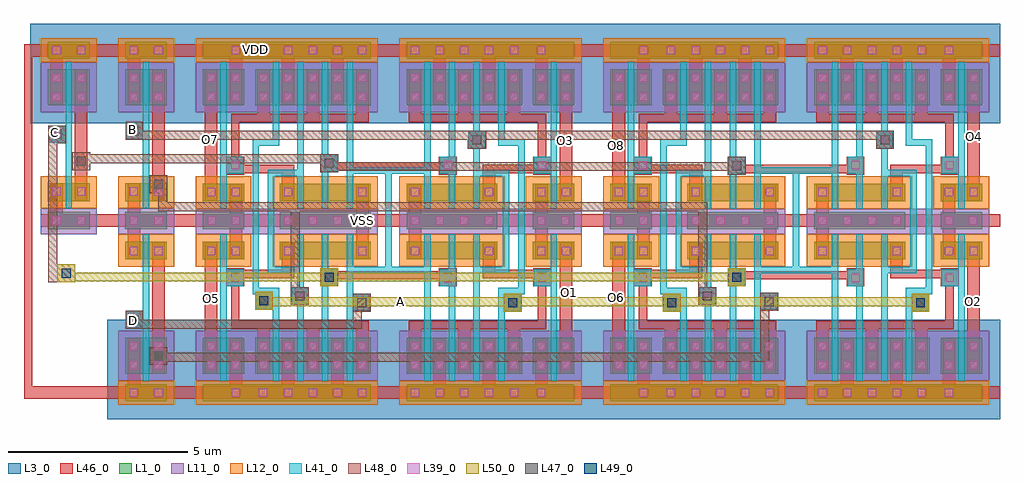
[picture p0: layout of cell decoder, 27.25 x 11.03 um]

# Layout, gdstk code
import gdstk
lib = gdstk.Library(unit=1e-6, precision=1e-09)
def R(c, l, rs):  # rectangles x0, y0, x1, y1
    for r in rs: c.add(gdstk.rectangle(r[:2], r[2:], *l))
def A(c, l, x, y, w, h, nx, ny, dx, dy):  # array of equal rectangles
    R(c, l, [(x+i*dx, y+j*dy, x+i*dx+w, y+j*dy+h) for i in range(nx) for j in range(ny)])
L1_0 = (1, 0)
L3_0 = (3, 0)
L11_0 = (11, 0)
L12_0 = (12, 0)
L39_0 = (39, 0)
L41_0 = (41, 0)
L46_0 = (46, 0)
L47_0 = (47, 0)
L48_0 = (48, 0)
L49_0 = (49, 0)
L50_0 = (50, 0)

decoder = lib.new_cell('decoder')
A(decoder, L1_0, 7.62, -9.57, 4.69, 0.47, 4, 2, 5.69, 9.56)
A(decoder, L1_0, 3.3, -1.31, 1.16, 1, 3, 1, 2.16, 0)
R(decoder, L1_0, [(5.46,-9.57,6.62,-9.1), (5.46,-8.8,6.62,-7.8), (7.62,-8.8,8.78,-7.8), (9.08,-8.8,12.31,-7.8), (13.31,-8.8,16.54,-7.8), (16.84,-8.8,18,-7.8), (19,-8.8,20.16,-7.8), (20.46,-8.8,23.69,-7.8), (24.69,-8.8,27.92,-7.8), (28.22,-8.8,29.38,-7.8), (5.46,-5.615,6.62,-5.115), (7.62,-5.615,8.78,-5.115), (9.77,-5.615,12.31,-5.115), (13.31,-5.615,15.85,-5.115), (16.84,-5.615,18,-5.115), (19,-5.615,20.16,-5.115), (21.15,-5.615,23.69,-5.115), (24.69,-5.615,27.23,-5.115), (28.22,-5.615,29.38,-5.115), (3.3,-4.765,4.46,-4.285), (5.46,-4.765,6.62,-4.285), (7.62,-4.765,8.78,-4.295), (9.77,-4.765,12.31,-4.295), (13.31,-4.765,15.85,-4.295), (16.84,-4.765,18,-4.295), (19,-4.765,20.16,-4.295), (21.15,-4.765,23.69,-4.295), (24.69,-4.765,27.23,-4.295), (28.22,-4.765,29.38,-4.295), (7.62,-3.995,8.78,-3.495), (9.77,-3.995,12.31,-3.495), (13.31,-3.995,15.85,-3.495), (16.84,-3.995,18,-3.495), (19,-3.995,20.16,-3.495), (21.15,-3.995,23.69,-3.495), (24.69,-3.995,27.23,-3.495), (28.22,-3.995,29.38,-3.495), (3.3,-3.985,4.46,-3.485), (5.46,-3.985,6.62,-3.485), (9.08,-1.31,12.31,-0.31), (13.31,-1.31,16.54,-0.31), (16.84,-1.31,18,-0.31), (19,-1.31,20.16,-0.31), (20.46,-1.31,23.69,-0.31), (24.69,-1.31,27.92,-0.31), (28.22,-1.31,29.38,-0.31), (3.3,-0.01,4.46,0.46), (5.46,-0.01,6.62,0.46)])
A(decoder, L3_0, 7.12, -10.07, 5.69, 2.77, 4, 2, 5.69, 8.26)
R(decoder, L3_0, [(4.96,-10.07,7.12,-7.3), (2.8,-1.81,4.96,0.96), (4.96,-1.81,7.12,0.96)])
A(decoder, L11_0, 7.42, -9, 5.09, 1.4, 4, 2, 5.69, 7.49)
A(decoder, L11_0, 7.42, -4.915, 5.09, 0.72, 4, 1, 5.69, 0)
R(decoder, L11_0, [(5.26,-9,6.82,-7.6), (3.1,-4.915,4.66,-4.185), (5.26,-4.915,6.82,-4.185), (3.1,-1.51,4.66,-0.11), (5.26,-1.51,6.82,-0.11)])
A(decoder, L12_0, 7.42, -9.67, 5.09, 0.67, 4, 2, 5.69, 9.56)
R(decoder, L12_0, [(5.26,-9.67,6.82,-9), (5.26,-5.815,6.82,-4.915), (7.42,-5.815,8.98,-4.915), (9.57,-5.815,12.51,-4.915), (13.11,-5.815,16.05,-4.915), (16.64,-5.815,18.2,-4.915), (18.8,-5.815,20.36,-4.915), (20.95,-5.815,23.89,-4.915), (24.49,-5.815,27.43,-4.915), (28.02,-5.815,29.58,-4.915), (7.42,-4.195,8.98,-3.295), (9.57,-4.195,12.51,-3.295), (13.11,-4.195,16.05,-3.295), (16.64,-4.195,18.2,-3.295), (18.8,-4.195,20.36,-3.295), (20.95,-4.195,23.89,-3.295), (24.49,-4.195,27.43,-3.295), (28.02,-4.195,29.58,-3.295), (3.1,-4.185,4.66,-3.285), (5.26,-4.185,6.82,-3.285), (3.1,-0.11,4.66,0.56), (5.26,-0.11,6.82,0.56)])
A(decoder, L39_0, 9.89, -9.45, 0.23, 0.23, 4, 2, 0.69, 4.805)
A(decoder, L39_0, 13.43, -9.45, 0.23, 0.23, 4, 2, 0.69, 4.805)
A(decoder, L39_0, 21.27, -9.45, 0.23, 0.23, 4, 2, 0.69, 4.805)
A(decoder, L39_0, 24.81, -9.45, 0.23, 0.23, 4, 2, 0.69, 4.805)
A(decoder, L39_0, 9.2, -8.68, 0.23, 0.23, 5, 2, 0.69, 0.53)
A(decoder, L39_0, 13.43, -8.68, 0.23, 0.23, 5, 2, 0.69, 0.53)
A(decoder, L39_0, 20.58, -8.68, 0.23, 0.23, 5, 2, 0.69, 0.53)
A(decoder, L39_0, 24.81, -8.68, 0.23, 0.23, 5, 2, 0.69, 0.53)
A(decoder, L39_0, 9.2, -1.19, 0.23, 0.23, 5, 2, 0.69, 0.53)
A(decoder, L39_0, 13.43, -1.19, 0.23, 0.23, 5, 2, 0.69, 0.53)
A(decoder, L39_0, 20.58, -1.19, 0.23, 0.23, 5, 2, 0.69, 0.53)
A(decoder, L39_0, 24.81, -1.19, 0.23, 0.23, 5, 2, 0.69, 0.53)
A(decoder, L39_0, 9.89, 0.11, 0.23, 0.23, 4, 1, 0.69, 0)
A(decoder, L39_0, 13.43, 0.11, 0.23, 0.23, 4, 1, 0.69, 0)
A(decoder, L39_0, 21.27, 0.11, 0.23, 0.23, 4, 1, 0.69, 0)
A(decoder, L39_0, 24.81, 0.11, 0.23, 0.23, 4, 1, 0.69, 0)
R(decoder, L39_0, [(5.58,-9.45,5.81,-9.22), (6.27,-9.45,6.5,-9.22), (8.43,-9.45,8.66,-9.22), (9.19,-9.45,9.42,-9.22), (16.2,-9.45,16.43,-9.22), (16.96,-9.45,17.19,-9.22), (19.81,-9.45,20.04,-9.22), (20.57,-9.45,20.8,-9.22), (27.58,-9.45,27.81,-9.22), (28.34,-9.45,28.57,-9.22), (5.58,-8.68,5.81,-8.45), (6.27,-8.68,6.5,-8.45), (7.74,-8.68,7.97,-8.45), (8.43,-8.68,8.66,-8.45), (16.96,-8.68,17.19,-8.45), (17.65,-8.68,17.88,-8.45), (19.12,-8.68,19.35,-8.45), (19.81,-8.68,20.04,-8.45), (28.34,-8.68,28.57,-8.45), (29.03,-8.68,29.26,-8.45), (5.58,-8.15,5.81,-7.92), (6.27,-8.15,6.5,-7.92), (7.74,-8.15,7.97,-7.92), (8.43,-8.15,8.66,-7.92), (16.96,-8.15,17.19,-7.92), (17.65,-8.15,17.88,-7.92), (19.12,-8.15,19.35,-7.92), (19.81,-8.15,20.04,-7.92), (28.34,-8.15,28.57,-7.92), (29.03,-8.15,29.26,-7.92), (5.6,-7.415,5.83,-7.185), (16.17,-6.935,16.4,-6.705), (20.6,-6.935,20.83,-6.705), (27.55,-6.935,27.78,-6.705), (11.94,-6.92,12.17,-6.69), (23.32,-6.89,23.55,-6.66), (9.22,-6.885,9.45,-6.655), (10.23,-6.75,10.46,-6.52), (21.61,-6.75,21.84,-6.52), (11.04,-6.245,11.27,-6.015), (14.35,-6.245,14.58,-6.015), (22.42,-6.245,22.65,-6.015), (25.73,-6.245,25.96,-6.015), (8.41,-6.24,8.64,-6.01), (16.98,-6.24,17.21,-6.01), (19.79,-6.24,20.02,-6.01), (28.36,-6.24,28.59,-6.01), (5.58,-5.495,5.81,-5.265), (6.27,-5.495,6.5,-5.265), (7.74,-5.495,7.97,-5.265), (8.43,-5.495,8.66,-5.265), (9.89,-5.495,10.12,-5.265), (11.96,-5.495,12.19,-5.265), (13.43,-5.495,13.66,-5.265), (15.5,-5.495,15.73,-5.265), (16.96,-5.495,17.19,-5.265), (17.65,-5.495,17.88,-5.265), (19.12,-5.495,19.35,-5.265), (19.81,-5.495,20.04,-5.265), (21.27,-5.495,21.5,-5.265), (23.34,-5.495,23.57,-5.265), (24.81,-5.495,25.04,-5.265), (26.88,-5.495,27.11,-5.265), (28.34,-5.495,28.57,-5.265), (29.03,-5.495,29.26,-5.265), (3.42,-4.645,3.65,-4.415), (4.11,-4.645,4.34,-4.415), (5.58,-4.645,5.81,-4.415), (6.27,-4.645,6.5,-4.415), (7.755,-4.645,7.985,-4.415), (8.43,-4.645,8.66,-4.415), (16.96,-4.645,17.19,-4.415), (17.63,-4.645,17.86,-4.415), (19.135,-4.645,19.365,-4.415), (19.81,-4.645,20.04,-4.415), (28.34,-4.645,28.57,-4.415), (29.01,-4.645,29.24,-4.415), (7.74,-3.845,7.97,-3.615), (8.43,-3.845,8.66,-3.615), (9.89,-3.845,10.12,-3.615), (11.96,-3.845,12.19,-3.615), (13.43,-3.845,13.66,-3.615), (15.5,-3.845,15.73,-3.615), (16.96,-3.845,17.19,-3.615), (17.65,-3.845,17.88,-3.615), (19.12,-3.845,19.35,-3.615), (19.81,-3.845,20.04,-3.615), (21.27,-3.845,21.5,-3.615), (23.34,-3.845,23.57,-3.615), (24.81,-3.845,25.04,-3.615), (26.88,-3.845,27.11,-3.615), (28.34,-3.845,28.57,-3.615), (29.03,-3.845,29.26,-3.615), (3.42,-3.835,3.65,-3.605), (4.11,-3.835,4.34,-3.605), (5.58,-3.835,5.81,-3.605), (6.27,-3.835,6.5,-3.605), (8.41,-3.1,8.64,-2.87), (16.98,-3.1,17.21,-2.87), (19.79,-3.1,20.02,-2.87), (28.36,-3.1,28.59,-2.87), (14.35,-3.095,14.58,-2.865), (22.42,-3.095,22.65,-2.865), (25.73,-3.095,25.96,-2.865), (11.04,-3.03,11.27,-2.8), (15.16,-2.385,15.39,-2.155), (26.54,-2.385,26.77,-2.155), (3.44,-2.24,3.67,-2.01), (5.6,-2.135,5.83,-1.905), (3.42,-1.19,3.65,-0.96), (4.11,-1.19,4.34,-0.96), (5.58,-1.19,5.81,-0.96), (6.27,-1.19,6.5,-0.96), (7.74,-1.19,7.97,-0.96), (8.43,-1.19,8.66,-0.96), (16.96,-1.19,17.19,-0.96), (17.65,-1.19,17.88,-0.96), (19.12,-1.19,19.35,-0.96), (19.81,-1.19,20.04,-0.96), (28.34,-1.19,28.57,-0.96), (29.03,-1.19,29.26,-0.96), (3.42,-0.66,3.65,-0.43), (4.11,-0.66,4.34,-0.43), (5.58,-0.66,5.81,-0.43), (6.27,-0.66,6.5,-0.43), (7.74,-0.66,7.97,-0.43), (8.43,-0.66,8.66,-0.43), (16.96,-0.66,17.19,-0.43), (17.65,-0.66,17.88,-0.43), (19.12,-0.66,19.35,-0.43), (19.81,-0.66,20.04,-0.43), (28.34,-0.66,28.57,-0.43), (29.03,-0.66,29.26,-0.43), (3.42,0.11,3.65,0.34), (4.11,0.11,4.34,0.34), (5.58,0.11,5.81,0.34), (6.27,0.11,6.5,0.34), (8.43,0.11,8.66,0.34), (9.19,0.11,9.42,0.34), (16.2,0.11,16.43,0.34), (16.96,0.11,17.19,0.34), (19.81,0.11,20.04,0.34), (20.57,0.11,20.8,0.34), (27.58,0.11,27.81,0.34), (28.34,0.11,28.57,0.34)])
A(decoder, L41_0, 10.26, -9, 0.18, 4.085, 3, 2, 0.69, 4.805)
A(decoder, L41_0, 13.8, -9, 0.18, 4.085, 3, 2, 0.69, 4.805)
A(decoder, L41_0, 21.64, -9, 0.18, 4.085, 3, 2, 0.69, 4.805)
A(decoder, L41_0, 25.18, -9, 0.18, 4.085, 3, 2, 0.69, 4.805)
R(decoder, L41_0, [(5.95,-9,6.13,-4.915), (8.11,-9,8.29,-4.915), (9.57,-9,9.75,-6.585), (15.87,-9,16.05,-6.585), (17.33,-9,17.51,-4.915), (19.49,-9,19.67,-4.915), (20.95,-9,21.13,-6.585), (27.25,-9,27.43,-6.585), (28.71,-9,28.89,-4.915), (5.48,-7.535,5.95,-7.065), (16.05,-7.055,16.52,-6.585), (20.48,-7.055,20.95,-6.585), (27.43,-7.055,27.9,-6.585), (11.82,-7.04,12.29,-6.57), (23.2,-7.01,23.67,-6.54), (9.1,-7.005,9.57,-6.535), (10.11,-6.87,10.58,-6.4), (21.49,-6.87,21.96,-6.4), (9.01,-6.585,9.75,-6.405), (15.865,-6.585,16.43,-6.405), (16.43,-6.585,16.61,-2.44), (20.39,-6.585,21.13,-6.405), (27.245,-6.585,27.81,-6.405), (27.81,-6.585,27.99,-2.44), (9.01,-6.405,9.19,-2.44), (20.39,-6.405,20.57,-2.44), (10.92,-6.365,11.39,-5.895), (14.23,-6.365,14.7,-5.895), (22.3,-6.365,22.77,-5.895), (25.61,-6.365,26.08,-5.895), (8.29,-6.36,8.76,-5.89), (16.86,-6.36,17.33,-5.89), (19.67,-6.36,20.14,-5.89), (28.24,-6.36,28.71,-5.89), (9.44,-5.995,9.62,-3.115), (9.62,-5.995,10.26,-5.815), (11.82,-5.995,13.8,-5.815), (15.36,-5.995,16,-5.815), (16,-5.995,16.18,-3.115), (20.82,-5.995,21,-3.115), (21,-5.995,21.64,-5.815), (23.2,-5.995,25.18,-5.815), (26.74,-5.995,27.37,-5.815), (27.37,-5.995,27.55,-3.115), (12.715,-5.815,12.895,-3.215), (24.095,-5.815,24.275,-3.215), (8.11,-4.195,8.29,-0.11), (17.33,-4.195,17.51,-0.11), (19.49,-4.195,19.67,-0.11), (28.71,-4.195,28.89,-0.11), (3.79,-4.185,3.97,-0.11), (5.95,-4.185,6.13,-0.11), (9.62,-3.295,10.26,-3.115), (15.36,-3.295,16,-3.115), (21,-3.295,21.64,-3.115), (26.74,-3.295,27.37,-3.115), (8.29,-3.22,8.76,-2.75), (16.86,-3.22,17.33,-2.75), (19.67,-3.22,20.14,-2.75), (28.24,-3.22,28.71,-2.75), (11.82,-3.215,13.8,-3.035), (14.23,-3.215,14.7,-2.745), (22.3,-3.215,22.77,-2.745), (23.2,-3.215,25.18,-3.035), (25.61,-3.215,26.08,-2.745), (10.92,-3.15,11.39,-2.68), (15.04,-2.505,15.51,-2.035), (26.42,-2.505,26.89,-2.035), (9.01,-2.44,9.75,-2.26), (15.87,-2.44,16.61,-2.26), (20.39,-2.44,21.13,-2.26), (27.25,-2.44,27.99,-2.26), (3.32,-2.36,3.79,-1.89), (9.57,-2.26,9.75,-0.11), (15.87,-2.26,16.05,-0.11), (20.95,-2.26,21.13,-0.11), (27.25,-2.26,27.43,-0.11), (5.48,-2.255,5.95,-1.785)])
A(decoder, L46_0, 9.14, -8.8, 0.35, 1.24, 3, 2, 1.38, 7.25)
A(decoder, L46_0, 13.37, -8.8, 0.35, 1.24, 3, 2, 1.38, 7.25)
A(decoder, L46_0, 20.52, -8.8, 0.35, 1.24, 3, 2, 1.38, 7.25)
A(decoder, L46_0, 24.75, -8.8, 0.35, 1.24, 3, 2, 1.38, 7.25)
R(decoder, L46_0, [(2.63,-9.51,2.86,0.05), (2.86,-9.51,12.81,-9.16), (5.52,-9.51,5.87,-7.8), (8.37,-9.51,8.72,-7.8), (9.83,-9.51,10.18,-7.8), (11.21,-9.51,11.56,-7.8), (12.81,-9.51,24.19,-9.16), (14.06,-9.51,14.41,-7.8), (15.44,-9.51,15.79,-7.8), (16.9,-9.51,17.25,-7.8), (19.75,-9.51,20.1,-7.8), (21.21,-9.51,21.56,-7.8), (22.59,-9.51,22.94,-7.8), (24.19,-9.51,29.88,-9.16), (25.44,-9.51,25.79,-7.8), (26.82,-9.51,27.17,-7.8), (28.28,-9.51,28.63,-7.8), (6.21,-8.8,6.56,-5.115), (7.68,-8.8,8.03,-6.155), (17.59,-8.8,17.94,-6.155), (19.06,-8.8,19.41,-6.155), (28.97,-8.8,29.32,-6.155), (8.415,-7.56,12.25,-7.33), (13.37,-7.56,17.205,-7.33), (19.795,-7.56,23.63,-7.33), (24.75,-7.56,28.585,-7.33), (5.48,-7.535,5.95,-7.065), (8.415,-7.33,8.645,-6.36), (16.975,-7.33,17.205,-6.36), (19.795,-7.33,20.025,-6.36), (28.355,-7.33,28.585,-6.36), (11.805,-7.07,12.305,-6.57), (16.03,-7.07,16.53,-6.57), (20.46,-7.07,20.96,-6.57), (27.41,-7.07,27.91,-6.57), (23.185,-7.04,23.685,-6.54), (9.08,-7.02,9.58,-6.52), (10.08,-6.885,10.58,-6.385), (21.46,-6.885,21.96,-6.385), (10.905,-6.365,11.405,-5.865), (14.215,-6.365,14.715,-5.865), (22.285,-6.365,22.785,-5.865), (25.595,-6.365,26.095,-5.865), (8.275,-6.36,8.775,-5.86), (16.845,-6.36,17.345,-5.86), (19.655,-6.36,20.155,-5.86), (28.225,-6.36,28.725,-5.86), (11.405,-6.17,14.215,-5.94), (22.785,-6.17,25.595,-5.94), (7.68,-6.155,8.03,-5.115), (17.59,-6.155,17.94,-5.115), (19.06,-6.155,19.41,-5.115), (28.97,-6.155,29.32,-5.115), (8.775,-6.135,10.18,-5.905), (15.44,-6.135,16.845,-5.905), (20.155,-6.135,21.56,-5.905), (26.82,-6.135,28.225,-5.905), (9.83,-5.905,10.18,-5.115), (15.44,-5.905,15.79,-5.115), (21.21,-5.905,21.56,-5.115), (26.82,-5.905,27.17,-5.115), (5.52,-5.615,5.87,-4.705), (8.37,-5.615,8.72,-4.705), (11.9,-5.615,12.25,-4.705), (13.37,-5.615,13.72,-4.705), (16.9,-5.615,17.25,-4.705), (19.75,-5.615,20.1,-4.705), (23.28,-5.615,23.63,-4.705), (24.75,-5.615,25.1,-4.705), (28.28,-5.615,28.63,-4.705), (3.1,-4.705,12.81,-4.355), (3.36,-4.705,3.71,-3.485), (5.52,-4.705,5.87,-3.485), (8.37,-4.705,8.72,-3.495), (11.9,-4.705,12.25,-3.495), (12.81,-4.705,18.5,-4.355), (13.37,-4.705,13.72,-3.495), (16.9,-4.705,17.25,-3.495), (18.5,-4.705,29.88,-4.355), (19.75,-4.705,20.1,-3.495), (23.28,-4.705,23.63,-3.495), (24.75,-4.705,25.1,-3.495), (28.28,-4.705,28.63,-3.495), (7.68,-3.995,8.03,-2.955), (9.83,-3.995,10.18,-3.205), (15.44,-3.995,15.79,-3.205), (17.59,-3.995,17.94,-2.955), (19.06,-3.995,19.41,-2.955), (21.21,-3.995,21.56,-3.205), (26.82,-3.995,27.17,-3.205), (28.97,-3.995,29.32,-2.955), (4.05,-3.985,4.4,-0.31), (6.21,-3.985,6.56,-0.31), (8.275,-3.25,8.775,-2.75), (16.845,-3.25,17.345,-2.75), (19.655,-3.25,20.155,-2.75), (28.225,-3.25,28.725,-2.75), (14.215,-3.245,14.715,-2.745), (22.285,-3.245,22.785,-2.745), (25.595,-3.245,26.095,-2.745), (8.775,-3.205,10.18,-2.975), (15.44,-3.205,16.845,-2.975), (20.155,-3.205,21.56,-2.975), (22.785,-3.205,25.595,-2.975), (26.82,-3.205,28.225,-2.975), (10.905,-3.18,11.405,-2.68), (11.405,-3.125,14.215,-2.895), (7.68,-2.955,8.03,-0.31), (17.59,-2.955,17.94,-0.31), (19.06,-2.955,19.41,-0.31), (28.97,-2.955,29.32,-0.31), (8.415,-2.75,8.645,-1.78), (16.975,-2.75,17.205,-1.78), (19.795,-2.75,20.025,-1.78), (28.355,-2.75,28.585,-1.78), (15.04,-2.52,15.54,-2.02), (26.42,-2.52,26.92,-2.02), (3.32,-2.36,3.79,-1.89), (5.48,-2.255,5.95,-1.785), (8.415,-1.78,12.25,-1.55), (13.37,-1.78,17.205,-1.55), (19.795,-1.78,23.63,-1.55), (24.75,-1.78,28.585,-1.55), (3.36,-1.31,3.71,0.4), (5.52,-1.31,5.87,0.4), (8.37,-1.31,8.72,0.4), (9.83,-1.31,10.18,0.4), (11.21,-1.31,11.56,0.4), (14.06,-1.31,14.41,0.4), (15.44,-1.31,15.79,0.4), (16.9,-1.31,17.25,0.4), (19.75,-1.31,20.1,0.4), (21.21,-1.31,21.56,0.4), (22.59,-1.31,22.94,0.4), (25.44,-1.31,25.79,0.4), (26.82,-1.31,27.17,0.4), (28.28,-1.31,28.63,0.4), (2.63,0.05,12.81,0.4), (12.81,0.05,24.19,0.4), (24.19,0.05,29.88,0.4)])
R(decoder, L47_0, [(6.26,-8.435,6.51,-8.185), (5.59,-7.425,5.84,-7.175), (11.93,-6.945,12.18,-6.695), (16.155,-6.945,16.405,-6.695), (20.585,-6.945,20.835,-6.695), (27.535,-6.945,27.785,-6.695), (23.31,-6.915,23.56,-6.665), (9.205,-6.895,9.455,-6.645), (10.205,-6.76,10.455,-6.51), (21.585,-6.76,21.835,-6.51), (11.03,-6.24,11.28,-5.99), (22.41,-6.24,22.66,-5.99), (6.26,-3.64,6.51,-3.39), (22.41,-3.12,22.66,-2.87), (11.03,-3.055,11.28,-2.805), (4.1,-3,4.35,-2.75), (15.15,-2.395,15.4,-2.145), (26.545,-2.395,26.795,-2.145), (3.43,-2.25,3.68,-2), (5.59,-2.145,5.84,-1.895)])
R(decoder, L48_0, [(6.135,-8.56,6.635,-8.06), (6.635,-8.465,23.435,-8.215), (23.185,-8.215,23.435,-7.04), (5.465,-7.55,5.965,-7.05), (5.965,-7.55,11.805,-7.3), (11.805,-7.55,12.055,-7.07), (11.805,-7.07,12.305,-6.57), (16.03,-7.07,16.53,-6.57), (20.46,-7.07,20.96,-6.57), (27.41,-7.07,27.91,-6.57), (23.185,-7.04,23.685,-6.54), (9.08,-7.02,9.58,-6.52), (10.08,-6.885,10.58,-6.385), (21.46,-6.885,21.96,-6.385), (10.08,-6.385,10.33,-4.27), (21.46,-6.385,21.71,-4.27), (10.905,-6.365,11.405,-5.865), (22.285,-6.365,22.785,-5.865), (3.305,-6.25,3.555,-2.375), (3.555,-6.25,4.055,-5.75), (6.385,-4.27,21.71,-4.02), (6.385,-4.02,6.635,-3.765), (6.135,-3.765,6.635,-3.265), (22.285,-3.245,22.785,-2.745), (10.905,-3.18,11.405,-2.68), (11.405,-3.145,22.285,-2.895), (3.975,-3.125,4.475,-2.625), (4.475,-2.93,10.905,-2.68), (15.025,-2.52,15.525,-2.02), (26.42,-2.52,26.92,-2.02), (3.305,-2.375,3.805,-1.875), (5.465,-2.27,5.965,-1.77), (5.965,-2.27,15.025,-2.02), (15.525,-2.27,26.42,-2.02)])
R(decoder, L49_0, [(16.155,-6.945,16.405,-6.695), (20.585,-6.945,20.835,-6.695), (27.535,-6.945,27.785,-6.695), (9.205,-6.895,9.455,-6.645), (11.03,-6.24,11.28,-5.99), (22.41,-6.24,22.66,-5.99), (3.68,-6.125,3.93,-5.875)])
R(decoder, L50_0, [(16.03,-7.07,16.53,-6.57), (20.46,-7.07,20.96,-6.57), (27.41,-7.07,27.91,-6.57), (9.08,-7.02,9.58,-6.52), (9.58,-6.925,27.41,-6.675), (10.905,-6.365,11.405,-5.865), (22.285,-6.365,22.785,-5.865), (3.555,-6.25,4.055,-5.75), (4.055,-6.23,10.905,-5.98), (11.405,-6.23,22.285,-5.98)])
decoder.add(gdstk.Label('O8', (19.175,-2.445), layer=101, texttype=0))
decoder.add(gdstk.Label('O6', (19.185,-6.675), layer=101, texttype=0))
decoder.add(gdstk.Label('O4', (29.17,-2.195), layer=101, texttype=0))
decoder.add(gdstk.Label('O2', (29.135,-6.795), layer=101, texttype=0))
decoder.add(gdstk.Label('O7', (7.85,-2.27), layer=101, texttype=0))
decoder.add(gdstk.Label('O5', (7.86,-6.705), layer=101, texttype=0))
decoder.add(gdstk.Label('O3', (17.755,-2.3), layer=101, texttype=0))
decoder.add(gdstk.Label('O1', (17.855,-6.545), layer=101, texttype=0))
decoder.add(gdstk.Label('VDD', (9.105,0.26), layer=101, texttype=0))
decoder.add(gdstk.Label('VSS', (12.075,-4.53), layer=101, texttype=0))
decoder.add(gdstk.Label('A', (13.15,-6.78), layer=103, texttype=0))
decoder.add(gdstk.Label('C', (3.48,-2.08), layer=102, texttype=0))
decoder.add(gdstk.Label('D', (5.68,-7.31), layer=102, texttype=0))
decoder.add(gdstk.Label('B', (5.66,-1.995), layer=102, texttype=0))

lib.write_gds('decoder.gds')
